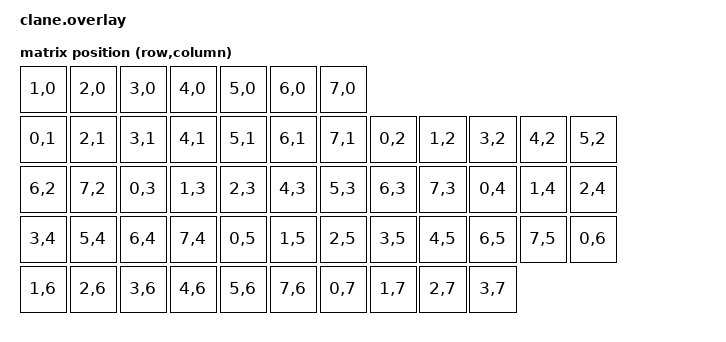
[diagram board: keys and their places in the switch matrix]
#include <dt-bindings/zmk/matrix_transform.h>

/ {
    chosen {
        zmk,kscan = &kscan0;
        zmk,matrix_transform = &default_transform;
    };

    kscan0: kscan {
        compatible = "zmk,kscan-gpio-charlieplex";
        label = "KSCAN";

        // interrupt-gpios = <&xiao_d 10 (GPIO_ACTIVE_HIGH|GPIO_PULL_DOWN) >;
        gpios
            = <&xiao_d 0 (GPIO_ACTIVE_HIGH)>
            , <&xiao_d 1 (GPIO_ACTIVE_HIGH)>
            , <&xiao_d 2 (GPIO_ACTIVE_HIGH)>
            , <&xiao_d 3 (GPIO_ACTIVE_HIGH)>
            , <&xiao_d 4 (GPIO_ACTIVE_HIGH)>
            , <&xiao_d 5 (GPIO_ACTIVE_HIGH)>
            , <&xiao_d 6 (GPIO_ACTIVE_HIGH)>
            , <&xiao_d 7 (GPIO_ACTIVE_HIGH)>
            ;
    };

    default_transform: keymap_transform {
        compatible = "zmk,matrix-transform";
        rows = <5>;
        columns = <12>;
        map = <
            RC(1,0) RC(2,0) RC(3,0) RC(4,0) RC(5,0) RC(6,0) RC(7,0) 
            RC(0,1) RC(2,1) RC(3,1) RC(4,1) RC(5,1) RC(6,1) RC(7,1) RC(0,2) RC(1,2) RC(3,2) RC(4,2) RC(5,2) 
            RC(6,2) RC(7,2) RC(0,3) RC(1,3) RC(2,3) RC(4,3) RC(5,3) RC(6,3) RC(7,3) RC(0,4) RC(1,4) RC(2,4) 
            RC(3,4) RC(5,4) RC(6,4) RC(7,4) RC(0,5) RC(1,5) RC(2,5) RC(3,5) RC(4,5) RC(6,5) RC(7,5) RC(0,6) 
            RC(1,6) RC(2,6) RC(3,6) RC(4,6) RC(5,6) RC(7,6) RC(0,7) RC(1,7) RC(2,7) RC(3,7) 
        >;
    };
};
